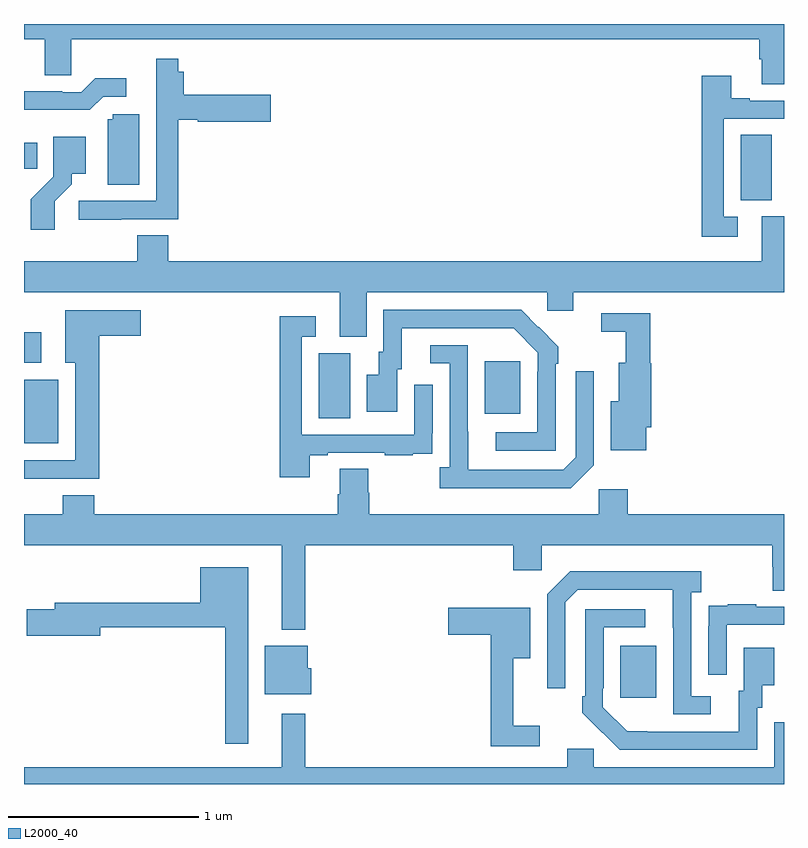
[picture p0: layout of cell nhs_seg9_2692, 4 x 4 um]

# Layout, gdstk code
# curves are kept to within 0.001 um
import gdstk
lib = gdstk.Library(unit=1e-6, precision=1e-09)
def R(c, l, rs):  # rectangles x0, y0, x1, y1
    for r in rs: c.add(gdstk.rectangle(r[:2], r[2:], *l))
def P(c, l, *ps):  # polygons
    for p in ps: c.add(gdstk.Polygon(p, *l))
L2000_40 = (2000, 40)

nhs_seg9_2692 = lib.new_cell('nhs_seg9_2692')
R(nhs_seg9_2692, L2000_40, [(268.139,1192.953,268.327,1193.227), (265,1194.293,265.18,1194.628), (266.552,1194.424,266.716,1194.768), (267.425,1194.449,267.613,1194.724), (265,1194.717,265.09,1194.877), (268.772,1195.573,268.936,1195.916), (265,1195.738,265.07,1195.876)])
P(nhs_seg9_2692, L2000_40, [(269,1196.5),(265,1196.5),(265,1196.42),(265.109,1196.42),(265.109,1196.23),(265.248,1196.23),(265.248,1196.42),(268.871,1196.42),(268.871,1196.314),(268.883,1196.314),(268.883,1196.182),(269,1196.182)],
  [(265.511,1195.473),(265.811,1195.473),(265.811,1195.997),(265.914,1195.997),(265.914,1195.985),(266.299,1195.985),(266.299,1196.127),(265.841,1196.127),(265.841,1196.248),(265.811,1196.248),(265.811,1196.317),(265.695,1196.317),(265.695,1195.569),(265.287,1195.569),(265.287,1195.471),(265.511,1195.471)],
  [(268.756,1195.485),(268.683,1195.485),(268.683,1196.001),(269,1196.001),(269,1196.097),(268.819,1196.097),(268.819,1196.11),(268.723,1196.11),(268.723,1196.227),(268.567,1196.227),(268.567,1195.38),(268.756,1195.38)],
  [(265.416,1196.118),(265.537,1196.118),(265.537,1196.215),(265.375,1196.215),(265.302,1196.142),(265.202,1196.142),(265.202,1196.145),(265,1196.145),(265,1196.048),(265.345,1196.048)],
  [(265.606,1196.025),(265.467,1196.025),(265.467,1195.998),(265.442,1195.998),(265.442,1195.654),(265.606,1195.654)],
  [(265.162,1195.567),(265.252,1195.657),(265.252,1195.712),(265.324,1195.712),(265.324,1195.906),(265.155,1195.906),(265.155,1195.697),(265.036,1195.578),(265.036,1195.416),(265.162,1195.416)],
  [(266.803,1195.088),(267.753,1195.088),(267.753,1194.99),(267.892,1194.99),(267.892,1195.088),(269,1195.088),(269,1195.488),(268.883,1195.488),(268.883,1195.252),(265.76,1195.252),(265.76,1195.388),(265.595,1195.388),(265.595,1195.252),(265,1195.252),(265,1195.088),(266.663,1195.088),(266.663,1194.853),(266.803,1194.853)],
  [(267.798,1194.713),(267.813,1194.713),(267.813,1194.801),(267.616,1194.996),(266.892,1194.996),(266.892,1194.774),(266.867,1194.774),(266.867,1194.655),(266.804,1194.655),(266.804,1194.459),(266.965,1194.459),(266.965,1194.684),(266.989,1194.684),(266.989,1194.9),(267.577,1194.9),(267.705,1194.771),(267.705,1194.671),(267.702,1194.671),(267.702,1194.351),(267.483,1194.351),(267.483,1194.255),(267.798,1194.255)],
  [(265.397,1194.86),(265.615,1194.86),(265.615,1194.994),(265.217,1194.994),(265.217,1194.716),(265.271,1194.716),(265.271,1194.204),(265,1194.204),(265,1194.107),(265.397,1194.107)],
  [(268.276,1194.378),(268.301,1194.378),(268.301,1194.714),(268.295,1194.714),(268.295,1194.978),(268.038,1194.978),(268.038,1194.881),(268.167,1194.881),(268.167,1194.718),(268.13,1194.718),(268.13,1194.514),(268.088,1194.514),(268.088,1194.257),(268.276,1194.257)],
  [(266.503,1194.231),(266.599,1194.231),(266.599,1194.243),(266.899,1194.243),(266.899,1194.231),(267.047,1194.231),(267.047,1194.237),(267.149,1194.237),(267.149,1194.346),(267.15,1194.346),(267.15,1194.601),(267.054,1194.601),(267.054,1194.339),(266.463,1194.339),(266.463,1194.855),(266.536,1194.855),(266.536,1194.961),(266.347,1194.961),(266.347,1194.114),(266.503,1194.114)],
  [(267.999,1194.177),(267.999,1194.673),(267.903,1194.673),(267.903,1194.219),(267.837,1194.153),(267.337,1194.153),(267.336,1194.81),(267.138,1194.81),(267.138,1194.714),(267.24,1194.714),(267.24,1194.166),(267.189,1194.166),(267.189,1194.056),(267.878,1194.056)],
  [(266.479,1193.756),(267.575,1193.756),(267.575,1193.625),(267.726,1193.625),(267.726,1193.756),(268.937,1193.756),(268.937,1193.643),(268.942,1193.643),(268.942,1193.518),(269,1193.518),(269,1193.92),(268.178,1193.92),(268.178,1194.052),(268.026,1194.052),(268.026,1193.92),(266.816,1193.92),(266.816,1194.033),(266.811,1194.033),(266.811,1194.158),(266.663,1194.158),(266.663,1194.026),(266.651,1194.026),(266.651,1193.92),(265.37,1193.92),(265.37,1194.019),(265.205,1194.019),(265.205,1193.92),(265,1193.92),(265,1193.756),(266.357,1193.756),(266.357,1193.312),(266.479,1193.312)],
  [(266.179,1193.641),(265.928,1193.641),(265.928,1193.455),(265.163,1193.455),(265.163,1193.421),(265.014,1193.421),(265.014,1193.279),(265.402,1193.279),(265.402,1193.326),(266.058,1193.326),(266.058,1192.713),(266.179,1192.713)],
  [(268.615,1192.962),(268.512,1192.962),(268.512,1193.51),(268.564,1193.51),(268.564,1193.62),(267.874,1193.62),(267.753,1193.499),(267.753,1193.004),(267.849,1193.004),(267.849,1193.457),(267.915,1193.523),(268.415,1193.523),(268.416,1192.866),(268.615,1192.866)],
  [(268.698,1193.337),(269,1193.337),(269,1193.433),(268.853,1193.433),(268.853,1193.446),(268.705,1193.446),(268.705,1193.439),(268.603,1193.439),(268.603,1193.33),(268.602,1193.33),(268.602,1193.076),(268.698,1193.076)],
  [(267.715,1192.807),(267.575,1192.807),(267.575,1193.162),(267.664,1193.162),(267.664,1193.427),(267.234,1193.427),(267.234,1193.285),(267.457,1193.285),(267.457,1192.698),(267.715,1192.698)],
  [(268.86,1192.902),(268.885,1192.902),(268.885,1193.021),(268.948,1193.021),(268.948,1193.218),(268.787,1193.218),(268.787,1192.992),(268.763,1192.992),(268.763,1192.776),(268.176,1192.777),(268.047,1192.905),(268.047,1193.005),(268.05,1193.005),(268.05,1193.325),(268.27,1193.325),(268.27,1193.421),(267.954,1193.421),(267.954,1192.963),(267.939,1192.963),(267.939,1192.875),(268.136,1192.68),(268.86,1192.68)],
  [(266.512,1193.109),(266.494,1193.109),(266.494,1193.227),(266.267,1193.227),(266.267,1192.973),(266.512,1192.973)],
  [(269,1192.824),(268.949,1192.824),(268.949,1192.588),(267.999,1192.588),(267.999,1192.686),(267.86,1192.686),(267.86,1192.588),(266.479,1192.588),(266.479,1192.87),(266.357,1192.87),(266.357,1192.588),(265,1192.588),(265,1192.5),(269,1192.5)])

lib.write_gds('nhs_seg9_2692.gds')
